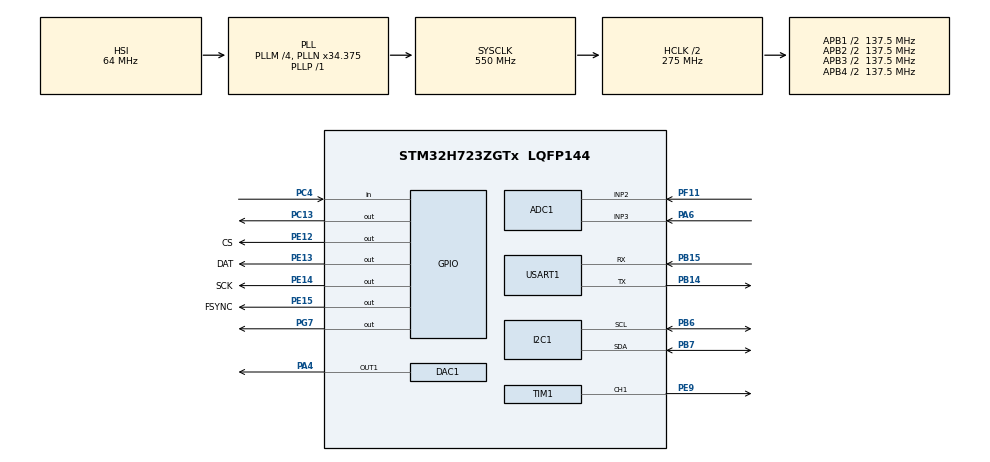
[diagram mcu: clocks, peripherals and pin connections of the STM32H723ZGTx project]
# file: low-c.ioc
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ADC1.Channel-0\#ChannelRegularConversion=ADC_CHANNEL_2
ADC1.Channel-2\#ChannelRegularConversion=ADC_CHANNEL_3
ADC1.ClockPrescaler=ADC_CLOCK_ASYNC_DIV2
ADC1.ContinuousConvMode=ENABLE
ADC1.ConversionDataManagement=ADC_CONVERSIONDATA_DMA_CIRCULAR
ADC1.EOCSelection=ADC_EOC_SEQ_CONV
ADC1.NbrOfConversion=2
ADC1.NbrOfConversionFlag=1
ADC1.OffsetNumber-0\#ChannelRegularConversion=ADC_OFFSET_NONE
ADC1.OffsetNumber-2\#ChannelRegularConversion=ADC_OFFSET_NONE
ADC1.OffsetSignedSaturation-0\#ChannelRegularConversion=DISABLE
ADC1.OffsetSignedSaturation-2\#ChannelRegularConversion=DISABLE
ADC1.Rank-0\#ChannelRegularConversion=1
ADC1.Rank-2\#ChannelRegularConversion=2
ADC1.SamplingTime-0\#ChannelRegularConversion=ADC_SAMPLETIME_32CYCLES_5
ADC1.SamplingTime-2\#ChannelRegularConversion=ADC_SAMPLETIME_32CYCLES_5
ADC1.master=1
CORTEX_M7.default_mode_Activation=1
DAC1.DAC1_OutputBuffer-DAC_OUT1=DAC_OUTPUTBUFFER_DISABLE
DAC1.DAC_Channel-DAC_OUT1=DAC_CHANNEL_1
DAC1.DAC_Trigger-DAC_OUT1=DAC_TRIGGER_T6_TRGO
DAC1.WaveGeneration-DAC_OUT1=DISABLE
Dma.ADC1.0.Direction=DMA_PERIPH_TO_MEMORY
Dma.ADC1.0.EventEnable=DISABLE
Dma.ADC1.0.FIFOMode=DMA_FIFOMODE_DISABLE
Dma.ADC1.0.Instance=DMA1_Stream0
Dma.ADC1.0.MemDataAlignment=DMA_MDATAALIGN_HALFWORD
Dma.ADC1.0.MemInc=DMA_MINC_ENABLE
Dma.ADC1.0.Mode=DMA_NORMAL
Dma.ADC1.0.PeriphDataAlignment=DMA_PDATAALIGN_HALFWORD
Dma.ADC1.0.PeriphInc=DMA_PINC_DISABLE
Dma.ADC1.0.Polarity=HAL_DMAMUX_REQ_GEN_RISING
Dma.ADC1.0.Priority=DMA_PRIORITY_LOW
Dma.ADC1.0.RequestNumber=1
Dma.ADC1.0.SignalID=NONE
Dma.ADC1.0.SyncEnable=DISABLE
Dma.ADC1.0.SyncPolarity=HAL_DMAMUX_SYNC_NO_EVENT
Dma.ADC1.0.SyncRequestNumber=1
Dma.ADC1.0.SyncSignalID=NONE
Dma.DAC1_CH1.1.Direction=DMA_MEMORY_TO_PERIPH
Dma.DAC1_CH1.1.EventEnable=DISABLE
Dma.DAC1_CH1.1.FIFOMode=DMA_FIFOMODE_DISABLE
Dma.DAC1_CH1.1.Instance=DMA2_Stream0
Dma.DAC1_CH1.1.MemDataAlignment=DMA_MDATAALIGN_WORD
Dma.DAC1_CH1.1.MemInc=DMA_MINC_ENABLE
Dma.DAC1_CH1.1.Mode=DMA_CIRCULAR
Dma.DAC1_CH1.1.PeriphDataAlignment=DMA_PDATAALIGN_WORD
Dma.DAC1_CH1.1.PeriphInc=DMA_PINC_DISABLE
Dma.DAC1_CH1.1.Polarity=HAL_DMAMUX_REQ_GEN_RISING
Dma.DAC1_CH1.1.Priority=DMA_PRIORITY_LOW
Dma.DAC1_CH1.1.RequestNumber=1
Dma.DAC1_CH1.1.SignalID=NONE
Dma.DAC1_CH1.1.SyncEnable=DISABLE
Dma.DAC1_CH1.1.SyncPolarity=HAL_DMAMUX_SYNC_NO_EVENT
Dma.DAC1_CH1.1.SyncRequestNumber=1
Dma.DAC1_CH1.1.SyncSignalID=NONE
Dma.Request0=ADC1
Dma.Request1=DAC1_CH1
I2C1.Timing=0x60404E72
Mcu.Family=STM32H7
Mcu.Name=STM32H723ZGTx
Mcu.Package=LQFP144
NVIC.DMA1_Stream0_IRQn=true\:0\:0\:false\:false\:true\:false\:true\:true
NVIC.DMA2_Stream0_IRQn=true\:0\:0\:false\:false\:true\:false\:true\:true
NVIC.PriorityGroup=NVIC_PRIORITYGROUP_4
PA4.Signal=COMP_DAC11_group
PA6.Signal=ADCx_INP3
PB14.Mode=Asynchronous
PB14.Signal=USART1_TX
PB15.Mode=Asynchronous
PB15.Signal=USART1_RX
PB6.Mode=I2C
PB6.Signal=I2C1_SCL
PB7.Mode=I2C
PB7.Signal=I2C1_SDA
PC13.GPIO_PuPd=GPIO_PULLUP
PC13.Signal=GPIO_Output
PC4.GPIO_PuPd=GPIO_PULLUP
PC4.Signal=GPIO_Input
PE12.GPIO_Label=CS
PE12.GPIO_PuPd=GPIO_PULLDOWN
PE12.GPIO_Speed=GPIO_SPEED_FREQ_VERY_HIGH
PE12.Signal=GPIO_Output
PE13.GPIO_Label=DAT
PE13.GPIO_PuPd=GPIO_PULLDOWN
PE13.GPIO_Speed=GPIO_SPEED_FREQ_VERY_HIGH
PE13.Signal=GPIO_Output
PE14.GPIO_Label=SCK
PE14.GPIO_PuPd=GPIO_PULLDOWN
PE14.GPIO_Speed=GPIO_SPEED_FREQ_VERY_HIGH
PE14.Signal=GPIO_Output
PE15.GPIO_Label=FSYNC
PE15.GPIO_PuPd=GPIO_PULLDOWN
PE15.GPIO_Speed=GPIO_SPEED_FREQ_VERY_HIGH
PE15.Signal=GPIO_Output
PE9.Signal=S_TIM1_CH1
PF11.Mode=IN2-Single-Ended
PF11.Signal=ADC1_INP2
PG7.GPIO_PuPd=GPIO_PULLUP
PG7.Signal=GPIO_Output
PH0-OSC_IN.Mode=HSE-External-Oscillator
PH0-OSC_IN.Signal=RCC_OSC_IN
PH1-OSC_OUT.Mode=HSE-External-Oscillator
PH1-OSC_OUT.Signal=RCC_OSC_OUT
ProjectManager.HeapSize=0x200
ProjectManager.StackSize=0x400
ProjectManager.TargetToolchain=CMake
RCC.ADCFreq_Value=129000000
RCC.APB1Freq_Value=137500000
RCC.APB2Freq_Value=137500000
RCC.APB3Freq_Value=137500000
RCC.APB4Freq_Value=137500000
RCC.CortexFreq_Value=550000000
RCC.D1PPRE=RCC_APB3_DIV2
RCC.D2PPRE1=RCC_APB1_DIV2
RCC.D2PPRE2=RCC_APB2_DIV2
RCC.D3PPRE=RCC_APB4_DIV2
RCC.DIVM1=4
RCC.DIVN1=34
RCC.DIVP1=1
RCC.HCLKFreq_Value=275000000
RCC.HPRE=RCC_HCLK_DIV2
RCC.PLL2FRACN=0
RCC.PLL3FRACN=0
RCC.PLLFRACN=3072
RCC.SYSCLKFreq_VALUE=550000000
RCC.SYSCLKSource=RCC_SYSCLKSOURCE_PLLCLK
RCC.USBFreq_Value=275000000
SH.ADCx_INP3.0=ADC1_INP3,IN3-Single-Ended
SH.COMP_DAC11_group.0=DAC1_OUT1,DAC_OUT1
SH.S_TIM1_CH1.0=TIM1_CH1,PWM Generation1 CH1
TIM1.Channel-PWM\ Generation1\ CH1=TIM_CHANNEL_1
TIM1.Period=100-1
TIM1.Prescaler=275-1
TIM1.Pulse-PWM\ Generation1\ CH1=50
TIM6.Period=27
TIM6.Prescaler=0
TIM6.TIM_MasterOutputTrigger=TIM_TRGO_UPDATE
USART1.VirtualMode-Asynchronous=VM_ASYNC
VP_MEMORYMAP_VS_MEMORYMAP.Mode=CurAppReg
VP_TIM6_VS_ClockSourceINT.Mode=Enable_Timer
board=custom

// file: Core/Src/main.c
/* USER CODE BEGIN Header */
/**
  ******************************************************************************
  * @file           : main.c
  * @brief          : Main program body
  ******************************************************************************
  * @attention
  *
  * Copyright (c) 2025 STMicroelectronics.
  * All rights reserved.
  *
  * This software is licensed under terms that can be found in the LICENSE file
  * in the root directory of this software component.
  * If no LICENSE file comes with this software, it is provided AS-IS.
  *
  ******************************************************************************
  */
/* USER CODE END Header */
#include "main.h"
#include "adc.h"
#include "dac.h"
#include "dma.h"
#include "i2c.h"
#include "memorymap.h"
#include "tim.h"
#include "usart.h"
#include "gpio.h"

/* USER CODE BEGIN Includes */
#include <stdio.h>
#include <stdlib.h>
#include <string.h>
#include "oled.h"
#include "font.h"
#include "arm_const_structs.h"
#include "arm_math.h"
#include "AD9833.h"
#include "filter.h"
/* USER CODE END Includes */

/* USER CODE BEGIN PD */

#define ADC_BUFFER_SIZE   ((uint32_t)  4096)

/* USER CODE END PD */

/* USER CODE BEGIN PV */

uint16_t adc_data_buffer[ADC_BUFFER_SIZE * 2 * 2] __attribute__((section(".adc")));
uint16_t adc_data_out[ADC_BUFFER_SIZE * 2 * 2] __attribute__((section(".dac")));

float32_t fft_input_1_1[ADC_BUFFER_SIZE * 2];
// float32_t fft_input_1_2[ADC_BUFFER_SIZE * 2];
// float32_t fft_input_2_1[ADC_BUFFER_SIZE * 2] __attribute__((section(".dac")));
// float32_t fft_input_2_2[ADC_BUFFER_SIZE * 2] __attribute__((section(".dac")));
float32_t magnitude_output[ADC_BUFFER_SIZE];

float32_t hanning_win_table[ADC_BUFFER_SIZE];

KalmanFilter phase_filter;

int converted = 0;
/* USER CODE END PV */

void SystemClock_Config(void);
static void MPU_Config(void);
/* USER CODE BEGIN PFP */
char *Float2String(float value);
void calculate_hamming_window();
void data_process();
int detect_wareform_type(uint32_t base_idx);
float calculate_phase(int offset, int fft_size, const arm_cfft_instance_f32 * S);
/* USER CODE END PFP */

int main(void)
{

  /* USER CODE BEGIN 1 */
  calculate_hamming_window();
  /* USER CODE END 1 */

  /* MPU Configuration--------------------------------------------------------*/
  MPU_Config();

  /* MCU Configuration--------------------------------------------------------*/

  /* Reset of all peripherals, Initializes the Flash interface and the Systick. */
  HAL_Init();

  /* Configure the system clock */
  SystemClock_Config();

  /* Initialize all configured peripherals */
  MX_GPIO_Init();
  MX_DMA_Init();
  MX_ADC1_Init();
  MX_I2C1_Init();
  MX_USART1_UART_Init();
  MX_DAC1_Init();
  MX_TIM6_Init();
  MX_TIM1_Init();
  /* USER CODE BEGIN 2 */
  if (HAL_ADCEx_Calibration_Start(&hadc1, ADC_CALIB_OFFSET, ADC_SINGLE_ENDED) != HAL_OK){Error_Handler();}
  if (HAL_ADC_Start_DMA(&hadc1,(uint32_t *)adc_data_buffer,ADC_BUFFER_SIZE * 2 * 2) != HAL_OK){Error_Handler();}
  OLED_Init();

  kalman_filter_init(&phase_filter, 0.5, 0.1);

  AD9833_WaveSeting(110900.1,0,TRI_WAVE,0);
  for (int i=0;i<=10;i++)AD9833_AmpSet(255); //设置幅值，幅值最大 255 3.6vpp

  for (int i=0; i<10; i++) {
    HAL_GPIO_TogglePin(GPIOG, GPIO_PIN_7);
    // HAL_Delay(500);
  }

  /* USER CODE END 2 */

  /* Infinite loop */
  /* USER CODE BEGIN WHILE */
  while (1)
  {
    // HAL_GPIO_TogglePin(GPIOG, GPIO_PIN_7);
    OLED_NewFrame();
    if (converted) {
      converted = 0;
      HAL_GPIO_WritePin(GPIOG, GPIO_PIN_7, GPIO_PIN_RESET);

      int dot = 512;
      for (int i=0; i<dot; i++) {
        char msg[40];
        sprintf(msg, "%d,%d,%d,%d\n" , adc_data_out[i*2+1], adc_data_out[i*2], adc_data_out[i*2+dot*2+1], adc_data_out[i*2+dot*2]);
        // HAL_UART_Transmit(&huart1, (uint8_t *)msg, strlen(msg), HAL_MAX_DELAY);
      }

      data_process();

      if (HAL_ADC_Start_DMA(&hadc1,(uint32_t *)adc_data_buffer,ADC_BUFFER_SIZE * 2 * 2) != HAL_OK){Error_Handler();}
    } else {
      HAL_GPIO_WritePin(GPIOG, GPIO_PIN_7, GPIO_PIN_SET);
    }
    OLED_ShowFrame();
    HAL_Delay(50);
    /* USER CODE END WHILE */

  }
}

void SystemClock_Config(void)
{
  RCC_OscInitTypeDef RCC_OscInitStruct = {0};
  RCC_ClkInitTypeDef RCC_ClkInitStruct = {0};

  /** Supply configuration update enable
  */
  HAL_PWREx_ConfigSupply(PWR_LDO_SUPPLY);

  /** Configure the main internal regulator output voltage
  */
  __HAL_PWR_VOLTAGESCALING_CONFIG(PWR_REGULATOR_VOLTAGE_SCALE0);

  while(!__HAL_PWR_GET_FLAG(PWR_FLAG_VOSRDY)) {}

  /** Initializes the RCC Oscillators according to the specified parameters
  * in the RCC_OscInitTypeDef structure.
  */
  RCC_OscInitStruct.OscillatorType = RCC_OSCILLATORTYPE_HSI;
  RCC_OscInitStruct.HSIState = RCC_HSI_DIV1;
  RCC_OscInitStruct.HSICalibrationValue = 64;
  RCC_OscInitStruct.PLL.PLLState = RCC_PLL_ON;
  RCC_OscInitStruct.PLL.PLLSource = RCC_PLLSOURCE_HSI;
  RCC_OscInitStruct.PLL.PLLM = 4;
  RCC_OscInitStruct.PLL.PLLN = 34;
  RCC_OscInitStruct.PLL.PLLP = 1;
  RCC_OscInitStruct.PLL.PLLQ = 2;
  RCC_OscInitStruct.PLL.PLLR = 2;
  RCC_OscInitStruct.PLL.PLLRGE = RCC_PLL1VCIRANGE_3;
  RCC_OscInitStruct.PLL.PLLVCOSEL = RCC_PLL1VCOWIDE;
  RCC_OscInitStruct.PLL.PLLFRACN = 3072;
  if (HAL_RCC_OscConfig(&RCC_OscInitStruct) != HAL_OK)
  {
    Error_Handler();
  }

  /** Initializes the CPU, AHB and APB buses clocks
  */
  RCC_ClkInitStruct.ClockType = RCC_CLOCKTYPE_HCLK|RCC_CLOCKTYPE_SYSCLK
                              |RCC_CLOCKTYPE_PCLK1|RCC_CLOCKTYPE_PCLK2
                              |RCC_CLOCKTYPE_D3PCLK1|RCC_CLOCKTYPE_D1PCLK1;
  RCC_ClkInitStruct.SYSCLKSource = RCC_SYSCLKSOURCE_PLLCLK;
  RCC_ClkInitStruct.SYSCLKDivider = RCC_SYSCLK_DIV1;
  RCC_ClkInitStruct.AHBCLKDivider = RCC_HCLK_DIV2;
  RCC_ClkInitStruct.APB3CLKDivider = RCC_APB3_DIV2;
  RCC_ClkInitStruct.APB1CLKDivider = RCC_APB1_DIV2;
  RCC_ClkInitStruct.APB2CLKDivider = RCC_APB2_DIV2;
  RCC_ClkInitStruct.APB4CLKDivider = RCC_APB4_DIV2;

  if (HAL_RCC_ClockConfig(&RCC_ClkInitStruct, FLASH_LATENCY_3) != HAL_OK)
  {
    Error_Handler();
  }
}

/* USER CODE BEGIN 4 */

#define FLOAT_STR_COUNT 4   // 支持最多4个并发调用
#define FLOAT_STR_SIZE 16
char *Float2String(float value)
{
  // 每个线程有自己的缓冲区，避免竞争
  _Thread_local static char buf[FLOAT_STR_COUNT][FLOAT_STR_SIZE];
  _Thread_local static int idx = 0;

  char* str = buf[idx];
  idx = (idx + 1) % FLOAT_STR_COUNT;

  int Head = abs((int)value);
  char c = value >= 0 ? '+' : '-';
  float p = fabsf(value - (int)value);
  char zero[5] = "";
  for (int i = 0; i < 4; i++) {
    p *= 10;
    if (p < 1) strcat(zero, "0");
    else break;
  }
  int Point = abs((int)((value - Head) * 100));
  snprintf(str, FLOAT_STR_SIZE, "%c%d.%s%d", c, Head, zero, Point);
  return str;
}

void HAL_ADC_ConvCpltCallback(ADC_HandleTypeDef* hadc)
{
  if(hadc->Instance == ADC1)
  {
    HAL_ADC_Stop_DMA(&hadc1);
    memset(adc_data_out,0,sizeof(adc_data_out));
    memcpy(adc_data_out,adc_data_buffer,sizeof(adc_data_buffer));
    converted = 1;
  }
}

void calculate_hamming_window() {
  int n = ADC_BUFFER_SIZE;
  for (int i = 0; i < n; ++i) {
    hanning_win_table[i] = 0.54 - 0.46 * arm_cos_f32(2 * M_PI * i / (n - 1));
    // hanning_win_table[i] = 1;
  }
}

#define HISTORY_SIZE 8           /* 必须是 2 的幂次，方便移位除法 */
static float phase_history[HISTORY_SIZE] = {0};
float calc_slope_scan_f32(void)
{
  float sum_x  = 0.0f;
  float sum_y  = 0.0f;
  float sum_xy = 0.0f;
  float sum_x2 = 0.0f;

  /* 现遍历，现累加 */
  for (int i = 0; i < HISTORY_SIZE; ++i) {
    float x = (float)i;                 // 时间轴 0,1,2…
    float y = phase_history[i];
    sum_x  += x;
    sum_y  += y;
    sum_xy += x * y;
    sum_x2 += x * x;
  }

  float den = HISTORY_SIZE * sum_x2 - sum_x * sum_x;
  if (den == 0.0f) return 0.0f;           // 防除 0

  float k = (HISTORY_SIZE * sum_xy - sum_x * sum_y) / den;
  return k;                               // 单位：相位/ms
}

float global_DIV = 0;
float freq_correction = 0;
float last_freq_correction = 0;
float sig1_amplitude = 0;
float sig2_amplitude = 0;
float last_freq = 0;
int last_mode = 0;
#define BASE_FREQ_LOW 0.0961538 // khz <=15k
#define BASE_FREQ_HIGH 0.095849 // khz
void data_process() {
  // calculate the average value
  int sig_avg_1 = 0;
  int sig_avg_2 = 0;
  for (int i = 0; i < ADC_BUFFER_SIZE; ++i) {
    sig_avg_1 += adc_data_out[i * 2];
    sig_avg_2 += adc_data_out[i * 2 + 1];
  }
  sig_avg_1 /= ADC_BUFFER_SIZE;
  sig_avg_2 /= ADC_BUFFER_SIZE;

  // apply hanning window and convert to float
  // prepare for fft
  for (int i = 0; i < ADC_BUFFER_SIZE; ++i) {
    fft_input_1_1[i*2] = hanning_win_table[i] * ((float32_t)adc_data_out[i*2] - sig_avg_1) / 65535.0f; // real part
    fft_input_1_1[i*2 + 1] = 0.0f; // imaginary part
  }

  // perform fft
  arm_cfft_f32(&arm_cfft_sR_f32_len4096, fft_input_1_1, 0, 1);
  arm_cmplx_mag_f32(fft_input_1_1 , magnitude_output , ADC_BUFFER_SIZE);

  // show magnitude
  float tmp_magnitude = 0;
  for (int i = 1; i < 128; ++i) {
    tmp_magnitude = 0;
    for (int j = 0; j < ADC_BUFFER_SIZE / 2 / 128; ++j) {
      tmp_magnitude += pow(magnitude_output[i * ADC_BUFFER_SIZE / 2 / 128 + j],2);
    }
    tmp_magnitude = sqrt(tmp_magnitude);
    OLED_DrawLine(i, 64, i, 64 - tmp_magnitude*0.1, OLED_COLOR_NORMAL);
  }

  // find the peak frequency
  uint32_t peak_index;
  float32_t peak_value;
  arm_max_f32(magnitude_output + 10, ADC_BUFFER_SIZE / 2 - 10, &peak_value, &peak_index);
  peak_index += 10; // because we skipped the DC component
  char msg[30];
  static float freq1, freq2;
  if (peak_index < 160) {
    freq1 = round(peak_index * BASE_FREQ_LOW * 10) / 10.0f;
    sniprintf(msg, sizeof(msg), "F1:%s kHz", Float2String(freq1));
  }else {
    freq1 = round(peak_index * BASE_FREQ_HIGH * 10) / 10.0f;
    sniprintf(msg, sizeof(msg), "F1:%s kHz", Float2String(freq1));
  }
  OLED_PrintString(0, 0, msg, &font16x16, OLED_COLOR_NORMAL);

  // detect waveform type
  int signal1_waveform_type = detect_wareform_type(peak_index);
  if (signal1_waveform_type == 0) {
    sniprintf(msg, sizeof(msg), "Sine");
  } else if (signal1_waveform_type == 1) {
    sniprintf(msg, sizeof(msg), "Ramp");
  } else {
    sniprintf(msg, sizeof(msg), "Square");
  }
  OLED_PrintString(80, 0, msg, &font16x16, OLED_COLOR_NORMAL);

  sniprintf(msg, sizeof(msg), "div:%s", Float2String(global_DIV));
  OLED_PrintString(0,32, msg, &font16x16, OLED_COLOR_NORMAL);

  // calculate the amplitude of the first signal
  const float fft_scaling_factor = 2.0f / ADC_BUFFER_SIZE * 2.0f / 1.5f;
  const float amplitude_ratio[] = {0.9f, 1.2237f, 0.7754f}; // sine, ramp, square
  float32_t amplitude1 = 0;
  const int band = 5;
  for (int i = -band; i <= band; ++i) {
    amplitude1 += pow(magnitude_output[peak_index + i] * fft_scaling_factor, 2);
  }
  amplitude1 = sqrt(amplitude1) * amplitude_ratio[signal1_waveform_type] * 8.0f;
  if (signal1_waveform_type == 0 && amplitude1 < 1.0f)amplitude1 *= 1.23f;
  else if (signal1_waveform_type == 0 && amplitude1 > 1.0f && amplitude1 < 2.0f)amplitude1 *= 1.1f;
  else if (signal1_waveform_type == 0 && amplitude1 > 2.0f && amplitude1 < 3.0f)amplitude1 *= 1.05f;
  else if (signal1_waveform_type == 1 && amplitude1 < 1.0f)amplitude1 *= 1.05f;
  else if (signal1_waveform_type == 2 && amplitude1 < 1.0f)amplitude1 *= 1.15f;
  sig1_amplitude = amplitude1;
  sniprintf(msg, sizeof(msg), "A1:%s", Float2String(amplitude1)); // 3.3V ref
  OLED_PrintString(0, 48, msg, &font16x16, OLED_COLOR_NORMAL);

  // eliminate the first signal
  const float first_harmonic_ratio[] = {1000000.0f, 9.0f, 3.0f}; // sine, ramp, square
  const float second_harmonic_ratio[] = {1000000.0f, 25.0f, 5.0f}; // sine, ramp, square
  for (int i = -band; i <= band; ++i) {
    // eliminate the first harmonic
    magnitude_output[peak_index * 3 + i] -= magnitude_output[peak_index] / first_harmonic_ratio[signal1_waveform_type];
    if (magnitude_output[peak_index * 3 + i] < 0) magnitude_output[peak_index * 3 + i] = 0;
    // eliminate the second harmonic
    magnitude_output[peak_index * 5 + i] -= magnitude_output[peak_index] / second_harmonic_ratio[signal1_waveform_type];
    if (magnitude_output[peak_index * 5 + i] < 0) magnitude_output[peak_index * 5 + i] = 0;
  }
  // eliminate the fundamental
  for (int i = -band; i <= band; ++i) {
    magnitude_output[peak_index + i] = 0;
  }

  // find the second signal
  // find the peak frequency
  uint32_t peak_index2;
  float32_t peak_value2;
  arm_max_f32(magnitude_output + 10, ADC_BUFFER_SIZE / 2 - 10, &peak_value2, &peak_index2);
  peak_index2 += 10; // because we skipped the DC component
  if (peak_index2 < 160) {
    freq2 = round(peak_index2 * BASE_FREQ_LOW * 10) / 10.0f;
    sniprintf(msg, sizeof(msg), "F2:%s kHz", Float2String(peak_index2 * BASE_FREQ_LOW));
  }else {
    freq2 = round(peak_index2 * BASE_FREQ_HIGH * 10) / 10.0f;
    sniprintf(msg, sizeof(msg), "F2:%s kHz", Float2String(peak_index2 * BASE_FREQ_HIGH));
  }
  OLED_PrintString(0, 16, msg, &font16x16, OLED_COLOR_NORMAL);

  // detect waveform type
  int signal2_waveform_type = detect_wareform_type(peak_index2);
  if (signal2_waveform_type == 0) {
    sniprintf(msg, sizeof(msg), "Sine");
  } else if (signal2_waveform_type == 1) {
    sniprintf(msg, sizeof(msg), "Ramp");
  } else {
    sniprintf(msg, sizeof(msg), "Square");
  }
  OLED_PrintString(80, 16, msg, &font16x16, OLED_COLOR_NORMAL);

  // calculate the amplitude of the second signal
  float32_t amplitude2 = 0;
  for (int i = -band; i <= band; ++i) {
    amplitude2 += pow(magnitude_output[peak_index2 + i] * fft_scaling_factor, 2);
  }
  amplitude2 = sqrt(amplitude2) * amplitude_ratio[signal2_waveform_type] * 9.0f;
  if (signal2_waveform_type == 0 && amplitude2 < 1.0f)amplitude1 *= 1.23f;
  else if (signal2_waveform_type == 0 && amplitude2 > 1.0f && amplitude1 < 2.0f)amplitude2 *= 1.1f;
  else if (signal2_waveform_type == 0 && amplitude2 > 2.0f && amplitude2 < 3.0f)amplitude2 *= 1.05f;
  else if (signal2_waveform_type == 1 && amplitude2 < 1.0f)amplitude2 *= 1.05f;
  else if (signal2_waveform_type == 2 && amplitude2 < 1.0f)amplitude2 *= 1.15f;
  sig2_amplitude = amplitude2;
  sniprintf(msg, sizeof(msg), "A2:%s", Float2String(amplitude2)); // 3.3V ref
  OLED_PrintString(64, 32, msg, &font16x16, OLED_COLOR_NORMAL);

  static float freq, amp;
  int waveform_type;

  if (HAL_GPIO_ReadPin(GPIOC, GPIO_PIN_4) == GPIO_PIN_SET) {
    freq = freq1;
    amp = sig1_amplitude;
    waveform_type = signal1_waveform_type;
    sprintf(msg, "CH1");
    OLED_PrintString(80, 48, msg, &font16x16, OLED_COLOR_NORMAL);
  }
  else {
    freq = freq2;
    amp = sig2_amplitude;
    waveform_type = signal2_waveform_type;
    sprintf(msg, "CH2");
    OLED_PrintString(80, 48, msg, &font16x16, OLED_COLOR_NORMAL);
  }

  int mode;
  switch (waveform_type) {
    case 0: mode = SIN_WAVE; break;
    case 1: mode = TRI_WAVE; break;
    case 2: mode = SQU_WAVE; break;
  }

  const float p = 1000.026f;
  if (freq * p != last_freq || mode != last_mode) {
    AD9833_WaveSeting(freq * p + freq_correction,0,mode,0);
    AD9833_AmpSet((int)(255.f/3.6f * amp));
    last_freq = freq * p;
    last_mode = mode;
  }

}

int detect_wareform_type(uint32_t base_idx) {
  // calculate fundamental energy
  float32_t fund_energy = 0;
  const int band = 6;
  for (int i = -band; i <= band; ++i) {
    fund_energy += pow(magnitude_output[base_idx + i], 2);
  }
  fund_energy = sqrt(fund_energy);
  // find the first harmonic
  uint32_t first_harmonic_index = base_idx * 3;
  float first_harmonic_value = magnitude_output[first_harmonic_index];
  for (int i = first_harmonic_index - 10; i <= first_harmonic_index + 10; ++i) {
    if (magnitude_output[i] > first_harmonic_value) {
      first_harmonic_value = magnitude_output[i];
      first_harmonic_index = i;
    }
  }
  // calculate first harmonic energy
  float32_t first_harmonic_energy = 0;
  for (int i = -band; i <= band; ++i) {
    first_harmonic_energy += pow(magnitude_output[first_harmonic_index + i], 2);
  }
  first_harmonic_energy = sqrt(first_harmonic_energy);
  // predict waveform type
  int waveform_type = 0; // 0: sine, 1: ramp, 2: square
  float DIV = fund_energy / first_harmonic_energy;
  global_DIV = DIV;
  if (DIV > 1 && DIV < 5.5) {
    waveform_type = 2;
  } else if (DIV > 5.5 && DIV < 16) {
    waveform_type = 1;
  } else {
    waveform_type = 0;
  }
  return waveform_type;
}

float32_t phase_fft[4096 * 2];
float calculate_phase(int offset, int fft_size, const arm_cfft_instance_f32 * S) {
  float sig_avg = 0;
  for (int i = 0; i < fft_size; ++i) {
    sig_avg += (float)adc_data_out[i*2 + offset];
  }
  sig_avg /= (float)fft_size;
  for (int i = 0; i < fft_size; ++i) {
    phase_fft[i*2] = (0.54 - 0.46 * arm_cos_f32(2 * M_PI * i / (fft_size - 1))) * ((float32_t)adc_data_out[i*2 + offset] - sig_avg) / 65535.0f;
    phase_fft[i*2 + 1] = 0; // imaginary part
  }
  arm_cfft_f32(S, phase_fft, 0, 1);
  uint32_t peak_index = 0;
  float32_t peak_value = 0;
  // for (int i = 0; i < fft_size; ++i) {
    // char msg[20];
    // sprintf(msg, "%d\n" , (int)(sqrt(phase_fft[i*2] * phase_fft[i*2] + phase_fft[i*2 + 1] * phase_fft[i*2 + 1])*1000));
    // HAL_UART_Transmit(&huart1, (uint8_t *)msg, strlen(msg), HAL_MAX_DELAY);
  // }
  for (int i = 1; i < fft_size / 2; ++i) {
    static float32_t mag;
    mag = sqrt(phase_fft[i*2] * phase_fft[i*2] + phase_fft[i*2 + 1] * phase_fft[i*2 + 1]);
    if (mag > peak_value) {
      peak_value = mag;
      peak_index = i;
    }
  }
  float phase = atan2(phase_fft[peak_index*2 + 1], phase_fft[peak_index*2]) * 180.0f / M_PI;
  return phase;
}

// void generate_dac_waveform(double freq, int type, float amplitude) {
//   if (type == 0) { // sine
//     for (int i = 0; i < DAC_BUFFER_SIZE; ++i) {
//       dac_output[i] = (uint16_t)((sin(2 * M_PI * i / ((double)DAC_BUFFER_SIZE / freq)) + 1.0f) / 2.0f * 4095);
//     }
//   } else if (type == 1) { // ramp
//     int period = ((double)DAC_BUFFER_SIZE) / freq;
//     for (int i = 0; i < (double)DAC_BUFFER_SIZE; ++i) {
//       int half_period = period / 2;
//       int phase = i % period;
//
//       if (phase < half_period) {
//         // 上升段
//         dac_output[i] = (uint16_t)(phase * (4095.0f / half_period));
//       } else {
//         // 下降段
//         dac_output[i] = (uint16_t)((period - phase) * (4095.0f / half_period));
//       }
//     }
//   } else { // square
//     for (int i = 0; i < DAC_BUFFER_SIZE; ++i) {
//       if (i % (int)((double)DAC_BUFFER_SIZE / freq) < ((double)DAC_BUFFER_SIZE / freq) / 2) {
//         dac_output[i] = 4095;
//       } else {
//         dac_output[i] = 0;
//       }
//     }
//   }
//   for (int i = 0; i < DAC_BUFFER_SIZE; ++i) {
//     dac_output[i] = (uint16_t)((double)dac_output[i] * (amplitude / 3.3));
//   }
// }

/* USER CODE END 4 */

 /* MPU Configuration */

void MPU_Config(void)
{
  MPU_Region_InitTypeDef MPU_InitStruct = {0};

  /* Disables the MPU */
  HAL_MPU_Disable();

  /** Initializes and configures the Region and the memory to be protected
  */
  MPU_InitStruct.Enable = MPU_REGION_ENABLE;
  MPU_InitStruct.Number = MPU_REGION_NUMBER0;
  MPU_InitStruct.BaseAddress = 0x0;
  MPU_InitStruct.Size = MPU_REGION_SIZE_4GB;
  MPU_InitStruct.SubRegionDisable = 0x87;
  MPU_InitStruct.TypeExtField = MPU_TEX_LEVEL0;
  MPU_InitStruct.AccessPermission = MPU_REGION_NO_ACCESS;
  MPU_InitStruct.DisableExec = MPU_INSTRUCTION_ACCESS_DISABLE;
  MPU_InitStruct.IsShareable = MPU_ACCESS_SHAREABLE;
  MPU_InitStruct.IsCacheable = MPU_ACCESS_NOT_CACHEABLE;
  MPU_InitStruct.IsBufferable = MPU_ACCESS_NOT_BUFFERABLE;

  HAL_MPU_ConfigRegion(&MPU_InitStruct);
  /* Enables the MPU */
  HAL_MPU_Enable(MPU_PRIVILEGED_DEFAULT);

}

void Error_Handler(void)
{
  __disable_irq();
  while (1)
  {
  }
}
